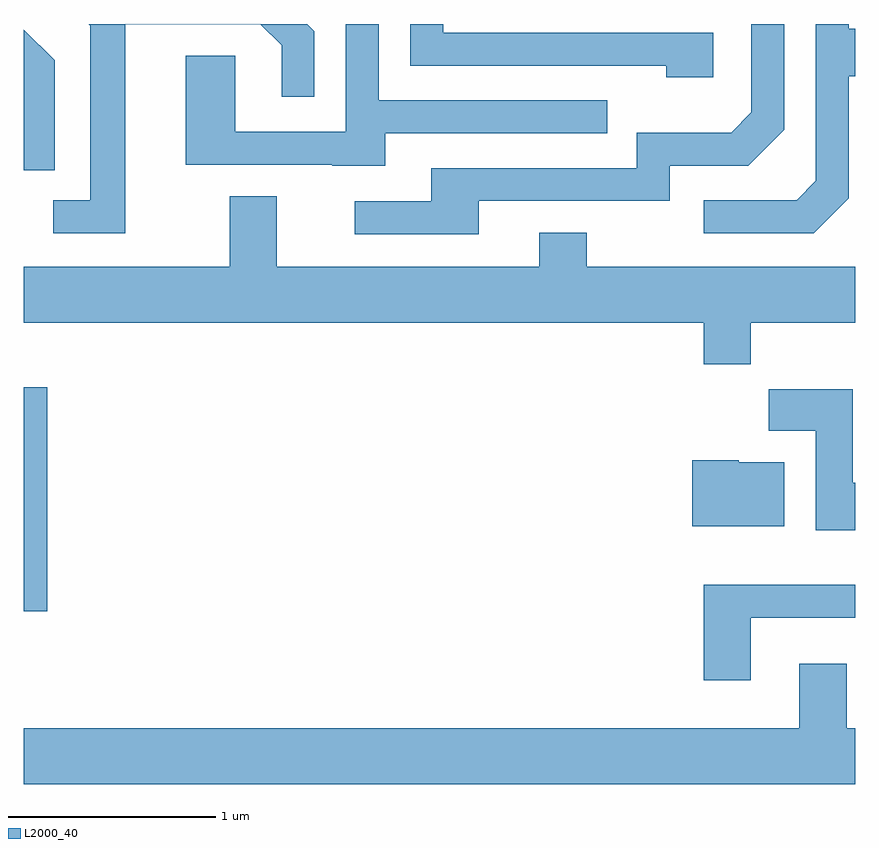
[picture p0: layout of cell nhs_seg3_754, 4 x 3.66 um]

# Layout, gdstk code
import gdstk
lib = gdstk.Library(unit=1e-6, precision=1e-09)
def R(c, l, rs):  # rectangles x0, y0, x1, y1
    for r in rs: c.add(gdstk.rectangle(r[:2], r[2:], *l))
def P(c, l, *ps):  # polygons
    for p in ps: c.add(gdstk.Polygon(p, *l))
L2000_40 = (2000, 40)

nhs_seg3_754 = lib.new_cell('nhs_seg3_754')
R(nhs_seg3_754, L2000_40, [(207.611,1129.066,207.724,1130.144)])
P(nhs_seg3_754, L2000_40, [(211.579,1131.054),(211.579,1131.641),(211.611,1131.641),(211.611,1131.869),(211.579,1131.869),(211.579,1131.892),(211.421,1131.892),(211.421,1131.137),(211.329,1131.044),(210.883,1131.044),(210.883,1130.886),(211.412,1130.886)],
  [(209.799,1131.041),(210.719,1131.041),(210.719,1131.211),(211.097,1131.211),(211.269,1131.384),(211.269,1131.892),(211.111,1131.892),(211.111,1131.467),(211.014,1131.369),(210.561,1131.369),(210.561,1131.199),(209.571,1131.199),(209.571,1131.039),(209.203,1131.039),(209.203,1130.881),(209.799,1130.881)],
  [(208.099,1131.891),(208.749,1131.891),(208.851,1131.789),(208.851,1131.543),(209.009,1131.543),(209.009,1131.857),(208.974,1131.892),(207.923,1131.892),(207.931,1131.884),(207.931,1131.044),(207.753,1131.044),(207.753,1130.886),(208.099,1130.886)],
  [(209.349,1131.366),(210.418,1131.366),(210.418,1131.524),(209.319,1131.524),(209.319,1131.892),(209.161,1131.892),(209.161,1131.374),(208.629,1131.374),(208.629,1131.739),(208.391,1131.739),(208.391,1131.216),(209.095,1131.216),(209.095,1131.211),(209.349,1131.211)],
  [(210.929,1131.849),(209.629,1131.849),(209.629,1131.892),(209.471,1131.892),(209.471,1131.691),(210.701,1131.691),(210.701,1131.636),(210.929,1131.636)],
  [(207.759,1131.717),(207.611,1131.865),(207.611,1131.188),(207.759,1131.188)],
  [(211.109,1130.456),(211.611,1130.456),(211.611,1130.724),(210.319,1130.724),(210.319,1130.889),(210.091,1130.889),(210.091,1130.724),(208.829,1130.724),(208.829,1131.064),(208.601,1131.064),(208.601,1130.724),(207.611,1130.724),(207.611,1130.456),(210.881,1130.456),(210.881,1130.256),(211.109,1130.256)],
  [(211.611,1129.684),(211.599,1129.684),(211.599,1130.134),(211.196,1130.134),(211.196,1129.936),(211.421,1129.936),(211.421,1129.456),(211.611,1129.456)],
  [(211.269,1129.784),(211.05,1129.784),(211.05,1129.794),(210.826,1129.794),(210.826,1129.476),(211.269,1129.476)],
  [(211.109,1129.036),(211.611,1129.036),(211.611,1129.194),(210.881,1129.194),(210.881,1128.736),(211.109,1128.736)],
  [(211.611,1128.504),(211.569,1128.504),(211.569,1128.814),(211.341,1128.814),(211.341,1128.504),(207.611,1128.504),(207.611,1128.236),(211.611,1128.236)])

lib.write_gds('nhs_seg3_754.gds')
